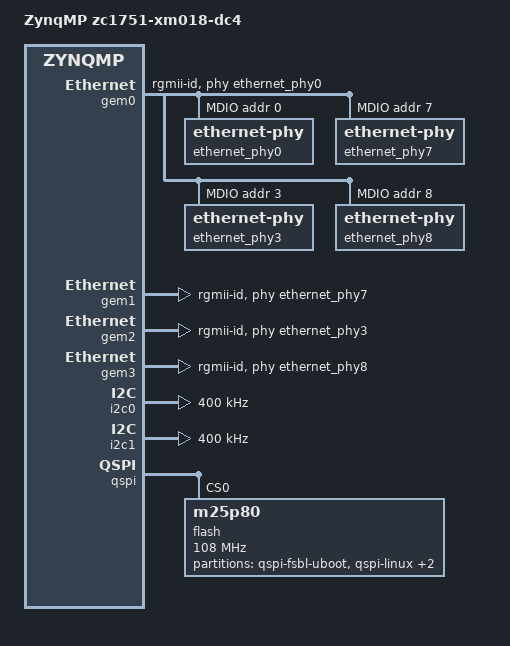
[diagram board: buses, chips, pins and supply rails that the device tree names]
// SPDX-License-Identifier: GPL-2.0+
/*
 * dts file for Xilinx ZynqMP zc1751-xm018-dc4
 *
 * (C) Copyright 2015 - 2021, Xilinx, Inc.
 * (C) Copyright 2022 - 2025, Advanced Micro Devices, Inc.
 *
 * Michal Simek <michal.simek@amd.com>
 */


/ {
	model = "ZynqMP zc1751-xm018-dc4";
	compatible = "xlnx,zynqmp-zc1751", "xlnx,zynqmp";

	aliases {
		ethernet0 = &gem0;
		ethernet1 = &gem1;
		ethernet2 = &gem2;
		ethernet3 = &gem3;
		i2c0 = &i2c0;
		i2c1 = &i2c1;
		rtc0 = &rtc;
		serial0 = &uart0;
		serial1 = &uart1;
		spi0 = &qspi;
	};

};

&gem0 {
	phy-mode = "rgmii-id";
	phy-handle = <&ethernet_phy0>;
	mdio: mdio {
		#address-cells = <1>;
		#size-cells = <0>;
		ethernet_phy0: ethernet-phy@0 { /* Marvell 88e1512 */
			reg = <0>;
		};
		ethernet_phy7: ethernet-phy@7 { /* Vitesse VSC8211 */
			reg = <7>;
		};
		ethernet_phy3: ethernet-phy@3 { /* Realtek RTL8211DN */
			reg = <3>;
		};
		ethernet_phy8: ethernet-phy@8 { /* Vitesse VSC8211 */
			reg = <8>;
		};
	};
};

&gem1 {
	phy-mode = "rgmii-id";
	phy-handle = <&ethernet_phy7>;
};

&gem2 {
	phy-mode = "rgmii-id";
	phy-handle = <&ethernet_phy3>;
};

&gem3 {
	phy-mode = "rgmii-id";
	phy-handle = <&ethernet_phy8>;
};

&i2c0 {
	clock-frequency = <400000>;
};

&i2c1 {
	clock-frequency = <400000>;
};

&qspi {
	flash@0 {
		compatible = "m25p80", "jedec,spi-nor"; /* 32MB */
		#address-cells = <1>;
		#size-cells = <1>;
		reg = <0x0>;
		spi-tx-bus-width = <4>;
		spi-rx-bus-width = <4>; /* also DUAL configuration possible */
		spi-max-frequency = <108000000>; /* Based on DC1 spec */
		partition@0 { /* for testing purpose */
			label = "qspi-fsbl-uboot";
			reg = <0x0 0x100000>;
		};
		partition@100000 { /* for testing purpose */
			label = "qspi-linux";
			reg = <0x100000 0x500000>;
		};
		partition@600000 { /* for testing purpose */
			label = "qspi-device-tree";
			reg = <0x600000 0x20000>;
		};
		partition@620000 { /* for testing purpose */
			label = "qspi-rootfs";
			reg = <0x620000 0x5E0000>;
		};
	};
};
